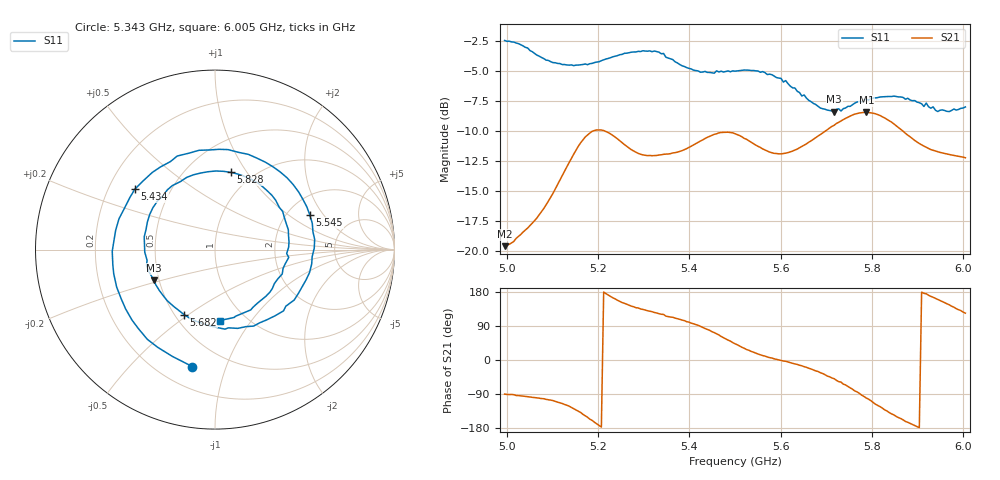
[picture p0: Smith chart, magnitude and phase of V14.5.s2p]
!File created by NanoVNA
# Hz S RI R 50
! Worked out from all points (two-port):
!   201 points, 4.995 GHz to 6.005 GHz, reference 50 ohm
!   highest |S21| = -8.44 dB at 5.788 GHz (marker M1); lowest = -19.6 dB at 4.995 GHz (marker M2)
!   |S21| within 3 dB of the highest: 5.395 GHz to 5.559 GHz (163.7 MHz wide, 2.99 % of centre); 5.639 GHz to 5.924 GHz (284.7 MHz wide, 4.92 % of centre)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
!   lowest |S11| = -8.4 dB at 5.717 GHz (marker M3), VSWR 2.23, Z = 23.4 - j9.31 ohm
!   |S11| at or under -10 dB: nowhere
!   S12 and S22 are empty: the file has one direction only
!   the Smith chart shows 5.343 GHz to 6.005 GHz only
!   S11 on the Smith chart (normalised r, x): 5.343 GHz: 0.33, -0.77; 5.434 GHz: 0.31, +0.31; 5.545 GHz: 2.64, +1.48; 5.682 GHz: 0.56, -0.48; 5.828 GHz: 0.79, +0.85; 6.005 GHz: 0.76, -0.72
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4.995e9  0.2132 -0.7211  -9.42e-06 -0.1052  0 0  0 0
5.03035e9  -0.3103 -0.6519  -0.00971 -0.1172  0 0  0 0
5.0758e9  -0.6343 -0.0789  -0.0298 -0.1433  0 0  0 0
5.1263e9  -0.3383 0.4924  -0.0988 -0.1912  0 0  0 0
5.1667e9  0.1167 0.5861  -0.2336 -0.1731  0 0  0 0
5.2172e9  0.5526 0.3023  -0.3136 0.0273  0 0  0 0
5.2576e9  0.6563 -0.1066  -0.2397 0.1406  0 0  0 0
5.33335e9  0.0108 -0.6723  -0.1339 0.2129  0 0  0 0
5.34345e9  -0.1259 -0.6518  -0.1273 0.2188  0 0  0 0
5.3889e9  -0.5479 -0.2086  -0.064 0.2567  0 0  0 0
5.43435e9  -0.4467 0.3367  0.0354 0.2923  0 0  0 0
5.5e9  0.2301 0.5112  0.2257 0.2098  0 0  0 0
5.54545e9  0.5284 0.1924  0.2625 0.0868  0 0  0 0
5.61615e9  0.3331 -0.3696  0.2564 -0.0225  0 0  0 0
5.6717e9  -0.1111 -0.3968  0.2619 -0.1294  0 0  0 0
5.6818e9  -0.1733 -0.3617  0.2604 -0.1517  0 0  0 0
5.71715e9  -0.3405 -0.17  0.2179 -0.2532  0 0  0 0
5.78785e9  -0.2377 0.3566  -0.0682 -0.3723  0 0  0 0
5.82825e9  0.0876 0.4304  -0.2386 -0.2675  0 0  0 0
5.83835e9  0.1577 0.4106  -0.2631 -0.229  0 0  0 0
5.91915e9  0.411 -0.0435  -0.2698 0.0248  0 0  0 0
6.005e9  0.0276 -0.3973  -0.1356 0.204  0 0  0 0
